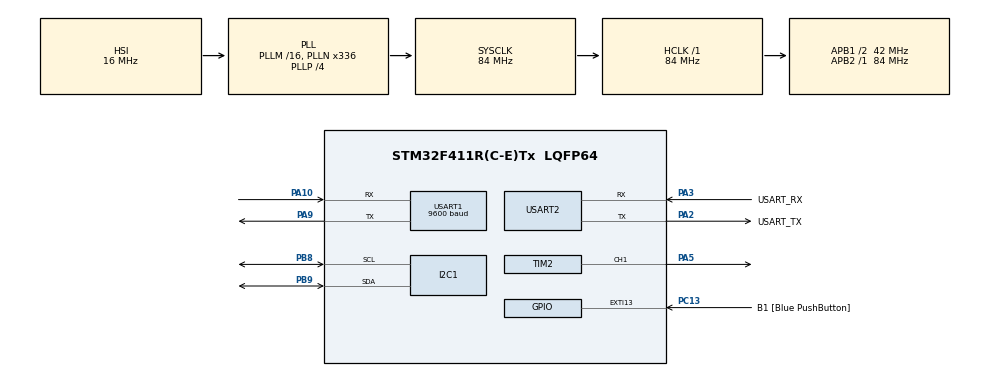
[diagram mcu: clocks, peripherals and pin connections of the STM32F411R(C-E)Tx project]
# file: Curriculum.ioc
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Mcu.Family=STM32F4
Mcu.Name=STM32F411R(C-E)Tx
Mcu.Package=LQFP64
NVIC.PriorityGroup=NVIC_PRIORITYGROUP_0
NVIC.TIM2_IRQn=true\:0\:0\:false\:false\:true\:true\:true\:true
NVIC.USART1_IRQn=true\:0\:0\:false\:false\:true\:true\:true\:true
NVIC.USART2_IRQn=true\:0\:0\:false\:false\:true\:true\:true\:true
PA10.Mode=Asynchronous
PA10.Signal=USART1_RX
PA11.Signal=USART6_TX
PA12.Signal=USART6_RX
PA13.GPIO_Label=TMS
PA13.Mode=Serial_Wire
PA13.Signal=SYS_JTMS-SWDIO
PA14.GPIO_Label=TCK
PA14.Mode=Serial_Wire
PA14.Signal=SYS_JTCK-SWCLK
PA2.GPIO_Label=USART_TX
PA2.Mode=Asynchronous
PA2.Signal=USART2_TX
PA3.GPIO_Label=USART_RX
PA3.Mode=Asynchronous
PA3.Signal=USART2_RX
PA5.Signal=S_TIM2_CH1_ETR
PA9.Mode=Asynchronous
PA9.Signal=USART1_TX
PB3.GPIO_Label=SWO
PB3.Signal=SYS_JTDO-SWO
PB8.GPIO_Pu=GPIO_PULLUP
PB8.Mode=I2C
PB8.Signal=I2C1_SCL
PB9.GPIO_Pu=GPIO_PULLUP
PB9.Mode=I2C
PB9.Signal=I2C1_SDA
PC13-ANTI_TAMP.GPIO_Label=B1 [Blue PushButton]
PC13-ANTI_TAMP.GPIO_ModeDefaultEXTI=GPIO_MODE_IT_FALLING
PC13-ANTI_TAMP.Signal=GPXTI13
PC14-OSC32_IN.Mode=LSE-External-Oscillator
PC14-OSC32_IN.Signal=RCC_OSC32_IN
PC15-OSC32_OUT.Mode=LSE-External-Oscillator
PC15-OSC32_OUT.Signal=RCC_OSC32_OUT
PH0\ -\ OSC_IN.Mode=HSE-External-Clock-Source
PH0\ -\ OSC_IN.Signal=RCC_OSC_IN
PH1\ -\ OSC_OUT.Mode=HSE-External-Clock-Source
PH1\ -\ OSC_OUT.Signal=RCC_OSC_OUT
ProjectManager.HeapSize=0x200
ProjectManager.StackSize=0x400
ProjectManager.TargetToolchain=STM32CubeIDE
RCC.48MHZClocksFreq_Value=84000000
RCC.AHBFreq_Value=84000000
RCC.APB1CLKDivider=RCC_HCLK_DIV2
RCC.APB1Freq_Value=42000000
RCC.APB1TimFreq_Value=84000000
RCC.APB2Freq_Value=84000000
RCC.APB2TimFreq_Value=84000000
RCC.CortexFreq_Value=84000000
RCC.FLatency-AdvancedSettings=FLASH_LATENCY_2
RCC.HCLKFreq_Value=84000000
RCC.HSE_VALUE=8000000
RCC.HSI_VALUE=16000000
RCC.PLLN=336
RCC.PLLP=RCC_PLLP_DIV4
RCC.SYSCLKFreq_VALUE=84000000
RCC.SYSCLKSource=RCC_SYSCLKSOURCE_PLLCLK
RCC.VCOOutputFreq_Value=336000000
SH.S_TIM2_CH1_ETR.0=TIM2_CH1,PWM Generation1 CH1
TIM2.Channel-PWM\ Generation1\ CH1=TIM_CHANNEL_1
TIM2.Period=999
TIM2.Prescaler=83
TIM2.Pulse-PWM\ Generation1\ CH1=500
USART1.BaudRate=9600
USART1.VirtualMode=VM_ASYNC
USART2.VirtualMode=VM_ASYNC
VP_TIM2_VS_ClockSourceINT.Mode=Internal
board=NUCLEO-F411RE

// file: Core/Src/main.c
/* USER CODE BEGIN Header */

/**
 * @file main.c
 * @brief Application entry point and super-loop scheduler.
 *
 * The main loop periodically runs non-blocking sensor tasks, updates the latest
 * shared sensor values, drives humidity-based LED behavior, refreshes the OLED,
 * and processes Modbus RTU requests over USART1.
 */

/* USER CODE END Header */
#include "main.h"

/* USER CODE BEGIN Includes */

#include <stdio.h>
#include <string.h>

#include "aht20.h"
#include "bmp280.h"
#include "env_data.h"
#include "led_control.h"
#include "ssd1306.h"
#include "uart_cmd.h"
#include "modbus_rtu.h"
#include "fw_version.h"

/* USER CODE END Includes */

I2C_HandleTypeDef hi2c1;

TIM_HandleTypeDef htim2;

UART_HandleTypeDef huart1;
UART_HandleTypeDef huart2;

/* USER CODE BEGIN PV */
#define OLED_REPORT_INTERVAL_MS 10000U

uint32_t report_tick = 0U;

uint8_t cli_rx_byte = 0U; // UART2 CLI RX buffer
uint8_t modbus_rx_byte = 0U;

const LED_Config_t default_led_config =
{
    .enabled = 1,
    .mode = 0,
    .bright_pulse = 500,
    .blink_interval = 500,
    .breath_speed = 5,
    .timer_signal = 0,
    .timer_count = 1000
};

LED_Config_t g_led =
{
    .enabled = 1,
    .mode = 0,
    .bright_pulse = 500,
    .blink_interval = 500,
    .breath_speed = 5,
    .timer_signal = 0,
    .timer_count = 1000
};

UART_Handler g_cli_uart;
int auto_report_mode = 0;

uint8_t modbus_rx_buf[MODBUS_MIN_REQUEST_SIZE];
uint8_t modbus_tx_buf[MODBUS_MAX_TX_SIZE];

volatile uint16_t modbus_rx_idx = 0U;
volatile uint8_t modbus_request_ready = 0U;

volatile uint8_t g_temp_valid = 0U;
volatile uint8_t g_humi_valid = 0U;
volatile uint8_t g_press_valid = 0U;

/* USER CODE END PV */

void SystemClock_Config(void);
static void MX_GPIO_Init(void);
static void MX_TIM2_Init(void);
static void MX_I2C1_Init(void);
static void MX_USART1_UART_Init(void);
static void MX_USART2_UART_Init(void);

/* USER CODE BEGIN 0 */

/* Disable printf() output to avoid contaminating the Modbus line. */
int _write(int file, char *ptr, int len)
{
    (void)file;
    HAL_UART_Transmit(&huart2, (uint8_t *)ptr, len, 100);
    return len;
}

void HAL_UART_RxCpltCallback(UART_HandleTypeDef *huart)
{
    if (huart->Instance == USART1)
    {
        if (modbus_request_ready == 0U)
     {

        	if (modbus_rx_idx < MODBUS_MIN_REQUEST_SIZE)
        {

        		modbus_rx_buf[modbus_rx_idx++] = modbus_rx_byte;
        }

        	if (modbus_rx_idx >= MODBUS_MIN_REQUEST_SIZE)
        {

        		modbus_request_ready = 1U;

        		modbus_rx_idx = 0U;
        }
    }

        HAL_UART_Receive_IT(huart, &modbus_rx_byte, 1);

    }
    else if (huart->Instance == USART2)
    {
    	if((cli_rx_byte == '\r') || (cli_rx_byte == '\n'))
    	{
    		if(g_cli_uart.rx_idx > 0)
    		{
    			g_cli_uart.rx_buffer[g_cli_uart.rx_idx] = '\0';
    			g_cli_uart.flags.bits.is_ready = 1;
    			g_cli_uart.state = SYS_COMMAND_PENDING;
    		}
    	}
    	else
    	{
    		if(g_cli_uart.rx_idx < (sizeof(g_cli_uart.rx_buffer)-1))
    		{
    			g_cli_uart.rx_buffer[g_cli_uart.rx_idx++] = (char)cli_rx_byte;
    		}
    		else
    		{
    			memset(g_cli_uart.rx_buffer, 0, sizeof(g_cli_uart.rx_buffer));
    			g_cli_uart.rx_idx = 0;
    			g_cli_uart.flags.all_flags = 0;
    			g_cli_uart.state = SYS_ERROR;
    		}
    	}

    	HAL_UART_Receive_IT(&huart2, &cli_rx_byte, 1);

    }

}

/* USER CODE END 0 */

int main(void)
{

  /* MCU Configuration--------------------------------------------------------*/

  /* Reset of all peripherals, Initializes the Flash interface and the Systick. */
  HAL_Init();

  /* Configure the system clock */
  SystemClock_Config();

  /* Initialize all configured peripherals */
  MX_GPIO_Init();
  MX_TIM2_Init();
  MX_I2C1_Init();
  MX_USART1_UART_Init();
  MX_USART2_UART_Init();
  /* USER CODE BEGIN 2 */

  memset(&g_cli_uart, 0, sizeof(UART_Handler));

  memset(modbus_rx_buf, 0, sizeof(modbus_rx_buf));
  memset(modbus_tx_buf, 0, sizeof(modbus_tx_buf));
  modbus_rx_idx = 0U;
  modbus_request_ready = 0U;

  HAL_UART_Receive_IT(&huart1, &modbus_rx_byte, 1);
  HAL_UART_Receive_IT(&huart2, &cli_rx_byte, 1);

  UART_LOG("CLI ready on USART2.");

  HAL_TIM_Base_Start_IT(&htim2);
  HAL_TIM_PWM_Start(&htim2, TIM_CHANNEL_1);

  report_tick = HAL_GetTick();

  UART_LOG("Scanning I2C bus...");

  for (uint8_t i = 1; i < 128; i++)
  {
      HAL_StatusTypeDef result =
          HAL_I2C_IsDeviceReady(&hi2c1, (uint16_t)(i << 1), 3, 5);

      if (result == HAL_OK)
      {
          UART_LOG("Found device at: 0x%02X", i);
      }
  }

  UART_LOG("Scan Finished.");

  OLED_Init();
  OLED_Clear();
  OLED_SetCursor(0, 0);
  OLED_Printf("READY");

  BMP280_Init();
  AHT20_Init();

 UART_LOG("%s Boot", PROJECT_NAME);
 UART_LOG("FW Ver : %s", FW_VERSION);
 UART_LOG("Build  : %s %s",__DATE__,__TIME__);

  /* USER CODE END 2 */

  /* Infinite loop */
  /* USER CODE BEGIN WHILE */

    while (1)
    {
        uint32_t now = HAL_GetTick();

        BMP280_Task();
        AHT20_Task();

        BMP280_Get_Data(&g_temp, &g_press);
        AHT20_Get_Data(NULL, &g_humi);

        BMP280_Get_RawAdc(&g_raw_adc_T, &g_raw_adc_P);
        g_raw_humi = AHT20_Get_RawHumi();

        LED_Auto_Control(g_humi);

        if ((now - report_tick) >= OLED_REPORT_INTERVAL_MS)
        {
            char buf[32];

            report_tick = now;

            OLED_Clear();

            Env_Fixed_t t = Env_Get_Temp_Fixed();
            Env_Fixed_t h = Env_Get_Humi_Fixed();
            int32_t p = Env_Get_Press_Fixed();

            snprintf(buf, sizeof(buf), "TEMP: %s%d.%02d C", t.sign_str, t.whole, t.frac);
            OLED_SetCursor(0, 0);
            OLED_Printf(buf);

            snprintf(buf, sizeof(buf), "HUMI: %d.%02d %%", h.whole, h.frac);
            OLED_SetCursor(2, 0);
            OLED_Printf(buf);

            snprintf(buf, sizeof(buf), "PRES: %ld HPA", (long)p);
            OLED_SetCursor(4, 0);
            OLED_Printf(buf);

            if (auto_report_mode)
            {
                UART_LOG("[Auto Report] T:%s%d.%02dC, H:%d.%02d%%, P:%ldhPa",
                         t.sign_str, t.whole, t.frac,
                         h.whole, h.frac,
                         (long)p);
            }

        }

        if (modbus_request_ready)
        {
            Modbus_Request_t request;
            Modbus_Status_t status;
            uint16_t tx_len = 0U;

            status = Modbus_ParseRequest(modbus_rx_buf,
                                         MODBUS_MIN_REQUEST_SIZE,
                                         &request);

            if (status == MODBUS_OK)
            {
                tx_len = Modbus_BuildReadHoldingResponse(&request,
                                                         modbus_tx_buf,
                                                         sizeof(modbus_tx_buf));
            }
            else if (status == MODBUS_ERR_FUNC)
            {
                tx_len = Modbus_BuildExceptionResponse(MODBUS_SLAVE_ADDR,
                                                       MODBUS_FUNC_READ_HOLDING_REGS,
                                                       MODBUS_EXCEPTION_ILLEGAL_FUNC,
                                                       modbus_tx_buf,
                                                       sizeof(modbus_tx_buf));
            }
            else if (status == MODBUS_ERR_ADDR)
            {
                tx_len = Modbus_BuildExceptionResponse(MODBUS_SLAVE_ADDR,
                                                       MODBUS_FUNC_READ_HOLDING_REGS,
                                                       MODBUS_EXCEPTION_ILLEGAL_ADDR,
                                                       modbus_tx_buf,
                                                       sizeof(modbus_tx_buf));
            }
            else if (status == MODBUS_ERR_VALUE)
            {
                tx_len = Modbus_BuildExceptionResponse(MODBUS_SLAVE_ADDR,
                                                       MODBUS_FUNC_READ_HOLDING_REGS,
                                                       MODBUS_EXCEPTION_ILLEGAL_VALUE,
                                                       modbus_tx_buf,
                                                       sizeof(modbus_tx_buf));
            }
            else
            {
                tx_len = 0U;
            }

            if (tx_len > 0U)
            {
                HAL_UART_Transmit(&huart1, modbus_tx_buf, tx_len, 100);
            }

            memset(modbus_rx_buf, 0, sizeof(modbus_rx_buf));
            modbus_request_ready = 0U;
        }

        UART_ProcessCommand(&g_cli_uart);

    /* USER CODE END WHILE */

    }
}

void SystemClock_Config(void)
{
  RCC_OscInitTypeDef RCC_OscInitStruct = {0};
  RCC_ClkInitTypeDef RCC_ClkInitStruct = {0};

  /** Configure the main internal regulator output voltage
  */
  __HAL_RCC_PWR_CLK_ENABLE();
  __HAL_PWR_VOLTAGESCALING_CONFIG(PWR_REGULATOR_VOLTAGE_SCALE1);

  /** Initializes the RCC Oscillators according to the specified parameters
  * in the RCC_OscInitTypeDef structure.
  */
  RCC_OscInitStruct.OscillatorType = RCC_OSCILLATORTYPE_HSI;
  RCC_OscInitStruct.HSIState = RCC_HSI_ON;
  RCC_OscInitStruct.HSICalibrationValue = RCC_HSICALIBRATION_DEFAULT;
  RCC_OscInitStruct.PLL.PLLState = RCC_PLL_ON;
  RCC_OscInitStruct.PLL.PLLSource = RCC_PLLSOURCE_HSI;
  RCC_OscInitStruct.PLL.PLLM = 16;
  RCC_OscInitStruct.PLL.PLLN = 336;
  RCC_OscInitStruct.PLL.PLLP = RCC_PLLP_DIV4;
  RCC_OscInitStruct.PLL.PLLQ = 4;
  if (HAL_RCC_OscConfig(&RCC_OscInitStruct) != HAL_OK)
  {
    Error_Handler();
  }

  /** Initializes the CPU, AHB and APB buses clocks
  */
  RCC_ClkInitStruct.ClockType = RCC_CLOCKTYPE_HCLK|RCC_CLOCKTYPE_SYSCLK
                              |RCC_CLOCKTYPE_PCLK1|RCC_CLOCKTYPE_PCLK2;
  RCC_ClkInitStruct.SYSCLKSource = RCC_SYSCLKSOURCE_PLLCLK;
  RCC_ClkInitStruct.AHBCLKDivider = RCC_SYSCLK_DIV1;
  RCC_ClkInitStruct.APB1CLKDivider = RCC_HCLK_DIV2;
  RCC_ClkInitStruct.APB2CLKDivider = RCC_HCLK_DIV1;

  if (HAL_RCC_ClockConfig(&RCC_ClkInitStruct, FLASH_LATENCY_2) != HAL_OK)
  {
    Error_Handler();
  }
}

static void MX_I2C1_Init(void)
{

  hi2c1.Instance = I2C1;
  hi2c1.Init.ClockSpeed = 100000;
  hi2c1.Init.DutyCycle = I2C_DUTYCYCLE_2;
  hi2c1.Init.OwnAddress1 = 0;
  hi2c1.Init.AddressingMode = I2C_ADDRESSINGMODE_7BIT;
  hi2c1.Init.DualAddressMode = I2C_DUALADDRESS_DISABLE;
  hi2c1.Init.OwnAddress2 = 0;
  hi2c1.Init.GeneralCallMode = I2C_GENERALCALL_DISABLE;
  hi2c1.Init.NoStretchMode = I2C_NOSTRETCH_DISABLE;
  if (HAL_I2C_Init(&hi2c1) != HAL_OK)
  {
    Error_Handler();
  }

}

static void MX_TIM2_Init(void)
{

  TIM_ClockConfigTypeDef sClockSourceConfig = {0};
  TIM_MasterConfigTypeDef sMasterConfig = {0};
  TIM_OC_InitTypeDef sConfigOC = {0};

  htim2.Instance = TIM2;
  htim2.Init.Prescaler = 83;
  htim2.Init.CounterMode = TIM_COUNTERMODE_UP;
  htim2.Init.Period = 999;
  htim2.Init.ClockDivision = TIM_CLOCKDIVISION_DIV1;
  htim2.Init.AutoReloadPreload = TIM_AUTORELOAD_PRELOAD_DISABLE;
  if (HAL_TIM_Base_Init(&htim2) != HAL_OK)
  {
    Error_Handler();
  }
  sClockSourceConfig.ClockSource = TIM_CLOCKSOURCE_INTERNAL;
  if (HAL_TIM_ConfigClockSource(&htim2, &sClockSourceConfig) != HAL_OK)
  {
    Error_Handler();
  }
  if (HAL_TIM_PWM_Init(&htim2) != HAL_OK)
  {
    Error_Handler();
  }
  sMasterConfig.MasterOutputTrigger = TIM_TRGO_RESET;
  sMasterConfig.MasterSlaveMode = TIM_MASTERSLAVEMODE_DISABLE;
  if (HAL_TIMEx_MasterConfigSynchronization(&htim2, &sMasterConfig) != HAL_OK)
  {
    Error_Handler();
  }
  sConfigOC.OCMode = TIM_OCMODE_PWM1;
  sConfigOC.Pulse = 500;
  sConfigOC.OCPolarity = TIM_OCPOLARITY_HIGH;
  sConfigOC.OCFastMode = TIM_OCFAST_DISABLE;
  if (HAL_TIM_PWM_ConfigChannel(&htim2, &sConfigOC, TIM_CHANNEL_1) != HAL_OK)
  {
    Error_Handler();
  }
  HAL_TIM_MspPostInit(&htim2);

}

static void MX_USART1_UART_Init(void)
{

  huart1.Instance = USART1;
  huart1.Init.BaudRate = 9600;
  huart1.Init.WordLength = UART_WORDLENGTH_8B;
  huart1.Init.StopBits = UART_STOPBITS_1;
  huart1.Init.Parity = UART_PARITY_NONE;
  huart1.Init.Mode = UART_MODE_TX_RX;
  huart1.Init.HwFlowCtl = UART_HWCONTROL_NONE;
  huart1.Init.OverSampling = UART_OVERSAMPLING_16;
  if (HAL_UART_Init(&huart1) != HAL_OK)
  {
    Error_Handler();
  }

}

static void MX_USART2_UART_Init(void)
{

  huart2.Instance = USART2;
  huart2.Init.BaudRate = 115200;
  huart2.Init.WordLength = UART_WORDLENGTH_8B;
  huart2.Init.StopBits = UART_STOPBITS_1;
  huart2.Init.Parity = UART_PARITY_NONE;
  huart2.Init.Mode = UART_MODE_TX_RX;
  huart2.Init.HwFlowCtl = UART_HWCONTROL_NONE;
  huart2.Init.OverSampling = UART_OVERSAMPLING_16;
  if (HAL_UART_Init(&huart2) != HAL_OK)
  {
    Error_Handler();
  }

}

static void MX_GPIO_Init(void)
{
  GPIO_InitTypeDef GPIO_InitStruct = {0};

  /* GPIO Ports Clock Enable */
  __HAL_RCC_GPIOC_CLK_ENABLE();
  __HAL_RCC_GPIOH_CLK_ENABLE();
  __HAL_RCC_GPIOA_CLK_ENABLE();
  __HAL_RCC_GPIOB_CLK_ENABLE();

  /*Configure GPIO pin : B1_Pin */
  GPIO_InitStruct.Pin = B1_Pin;
  GPIO_InitStruct.Mode = GPIO_MODE_IT_FALLING;
  GPIO_InitStruct.Pull = GPIO_NOPULL;
  HAL_GPIO_Init(B1_GPIO_Port, &GPIO_InitStruct);

  /*Configure GPIO pins : PA11 PA12 */
  GPIO_InitStruct.Pin = GPIO_PIN_11|GPIO_PIN_12;
  GPIO_InitStruct.Mode = GPIO_MODE_AF_PP;
  GPIO_InitStruct.Pull = GPIO_NOPULL;
  GPIO_InitStruct.Speed = GPIO_SPEED_FREQ_VERY_HIGH;
  GPIO_InitStruct.Alternate = GPIO_AF8_USART6;
  HAL_GPIO_Init(GPIOA, &GPIO_InitStruct);

}

/* USER CODE BEGIN 4 */
void HAL_TIM_PeriodElapsedCallback(TIM_HandleTypeDef *htim)
{
    if (htim->Instance == TIM2)
    {
        LED_Update_Handler();
    }
}
/* USER CODE END 4 */

void Error_Handler(void)
{
  __disable_irq();
  while (1)
  {
  }
}
